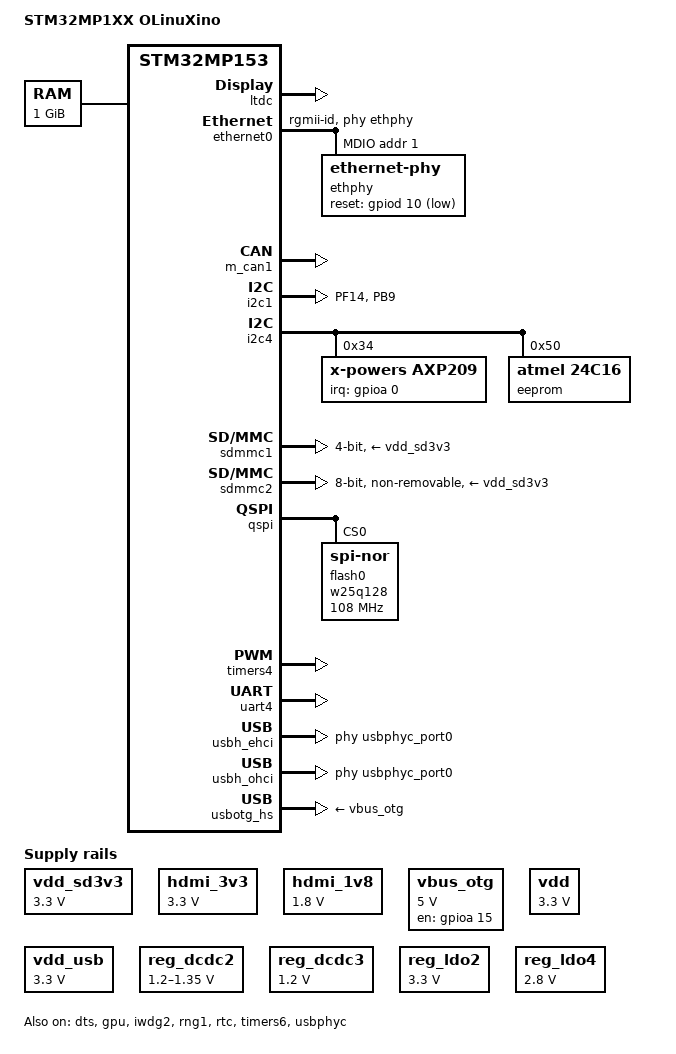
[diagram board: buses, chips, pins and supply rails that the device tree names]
// SPDX-License-Identifier: (GPL-2.0+ OR BSD-3-Clause)
/*
 * Copyright (C) STMicroelectronics 2017 - All Rights Reserved
 * Author: Ludovic Barre <ludovic.barre@st.com> for STMicroelectronics.
 */
/dts-v1/;

#include "stm32mp157.dtsi"
#include "stm32mp15xc.dtsi"
#include "stm32mp15-pinctrl.dtsi"
#include "stm32mp15xxaa-pinctrl.dtsi"

#include <dt-bindings/gpio/gpio.h>
#include <dt-bindings/mfd/st,stpmic1.h>

/ {
	model = "STM32MP1XX OLinuXino";
	compatible = "olimex,stm32mp1xx-olinuxino-lime" , "st,stm32mp153";
	aliases {
		ethernet0 = &ethernet0;
		serial0 = &uart4;
	};

	chosen {
		stdout-path = "serial0:115200n8";
	};

	memory@c0000000 {
		device_type = "memory";
		reg = <0xC0000000 0x40000000>;
	};

	reserved-memory {
		#address-cells = <1>;
		#size-cells = <1>;
		ranges;

		mcuram2: mcuram2@10000000 {
			compatible = "shared-dma-pool";
			reg = <0x10000000 0x40000>;
			no-map;
		};

		vdev0vring0: vdev0vring0@10040000 {
			compatible = "shared-dma-pool";
			reg = <0x10040000 0x1000>;
			no-map;
		};

		vdev0vring1: vdev0vring1@10041000 {
			compatible = "shared-dma-pool";
			reg = <0x10041000 0x1000>;
			no-map;
		};

		vdev0buffer: vdev0buffer@10042000 {
			compatible = "shared-dma-pool";
			reg = <0x10042000 0x4000>;
			no-map;
		};

		mcuram: mcuram@30000000 {
			compatible = "shared-dma-pool";
			reg = <0x30000000 0x40000>;
			no-map;
		};

		retram: retram@38000000 {
			compatible = "shared-dma-pool";
			reg = <0x38000000 0x10000>;
			no-map;
		};

		gpu_reserved: gpu@e8000000 {
			reg = <0xe8000000 0x8000000>;
			no-map;
		};
	};

	vdd_sd3v3: regulator_vdd {
		compatible = "regulator-fixed";
		regulator-name = "vdd-sd";
		regulator-min-microvolt = <3300000>;
		regulator-max-microvolt = <3300000>;
		enable-active-high;
		regulator-always-on;
		regulator-initial-mode = <0>;
		//regulator-over-current-protection;
	};

	hdmi_3v3: regulator_hdmi {
		compatible = "regulator-fixed";
		regulator-name = "vdd-hdmi";
		regulator-min-microvolt = <3300000>;
		regulator-max-microvolt = <3300000>;
		enable-active-high;
		regulator-always-on;
		regulator-initial-mode = <0>;
		//regulator-over-current-protection;
	};

	hdmi_1v8: regulator_hdmi1v8 {
		compatible = "regulator-fixed";
		regulator-name = "vdd-hdmi1v8";
		regulator-min-microvolt = <1800000>;
		regulator-max-microvolt = <1800000>;
		enable-active-high;
		regulator-always-on;
		regulator-initial-mode = <0>;
		//regulator-over-current-protection;
	};

/*
	hdmi_1v2: regulator_hdmi1v2 {
		compatible = "regulator-fixed";
		regulator-name = "vdd-hdmi1v2";
		regulator-min-microvolt = <1200000>;
		regulator-max-microvolt = <1200000>;
		enable-active-high;
		regulator-always-on;
		regulator-initial-mode = <0>;
		//regulator-over-current-protection;
	};
*/

	vbus_otg: regulator_otg {
		compatible = "regulator-fixed";
		regulator-name = "vdd-otg";
		regulator-min-microvolt = <5000000>;
		regulator-max-microvolt = <5000000>;
		gpios = <&gpioa 15 GPIO_ACTIVE_LOW>;
		enable-active-high;
		regulator-initial-mode = <0>;
		//regulator-over-current-protection;
	};

	vdd: vdd {
		compatible = "regulator-fixed";
		regulator-name = "vdd";
		regulator-min-microvolt = <3300000>;
		regulator-max-microvolt = <3300000>;
		enable-active-high;
		regulator-always-on;
		regulator-initial-mode = <0>;
		//regulator-over-current-protection;
	};

	vdd_usb: vdd-usb {
		compatible = "regulator-fixed";
		regulator-name = "vdd-usb";
		regulator-min-microvolt = <3300000>;
		regulator-max-microvolt = <3300000>;
		enable-active-high;
		regulator-always-on;
		regulator-initial-mode = <0>;
		//regulator-over-current-protection;
	};

/*
	panel {
		compatible = "olimex,lcd-olinuxino-10";
		status = "disabled";

		enable-gpios = <&gpiof 13 GPIO_ACTIVE_HIGH>;
		//backlight = <&backlight>;

		port {
			panel_in_tcon0: endpoint {
				remote-endpoint = <&ltdc_ep0_out>;
			};
		};
	};
*/
};

&pinctrl {
	i2c1_pins_lime: i2c1-0-lime {
		pins {
			pinmux = <STM32_PINMUX('F', 14, AF5)>, /* I2C1_SCL */
				 <STM32_PINMUX('B', 9, AF4)>; /* I2C1_SDA */
			bias-disable;
			drive-open-drain;
			slew-rate = <0>;
		};
	};

	i2c1_sleep_pins_lime: i2c1-sleep-lime {
		pins {
			pinmux = <STM32_PINMUX('D', 12, ANALOG)>, /* I2C1_SCL */
				 <STM32_PINMUX('F', 15, ANALOG)>; /* I2C1_SDA */
		};
	};
};

&dts {
	status = "okay";
};

&ltdc {
	pinctrl-names = "default", "sleep";
	pinctrl-0 = <&ltdc_pins_b>;
	pinctrl-1 = <&ltdc_sleep_pins_b>;
	status = "okay";
/*
	port {
		#address-cells = <1>;
		#size-cells = <0>;

		ltdc_ep0_out: endpoint@0 {
			reg = <0>;
			remote-endpoint = <&it66121_in>;
		};
	};*/
};

&ethernet0 {
	status = "okay";
	pinctrl-0 = <&ethernet0_rgmii_pins_a>;
	pinctrl-1 = <&ethernet0_rgmii_sleep_pins_a>;
	pinctrl-names = "default", "sleep";
	phy-mode = "rgmii-id";
	phy-handle = <&ethphy>;

	mdio0 {
		compatible = "snps,dwmac-mdio";
		#address-cells = <1>;
		#size-cells = <0>;
		ethphy: ethernet-phy@1 {
			reg = <1>;
			reset-gpios = <&gpiod 10 GPIO_ACTIVE_LOW>; /* ETH_RST# */
			reset-assert-us = <10000>;
			reset-deassert-us = <300>;
			micrel,force-master;
		};
	};
};

&gpu {
	contiguous-area = <&gpu_reserved>;
	status = "okay";
};

&m_can1 {
	pinctrl-names = "default", "sleep";
	pinctrl-0 = <&m_can1_pins_a>;
	pinctrl-1 = <&m_can1_sleep_pins_a>;
	status = "okay";
};

&i2c1 {
	pinctrl-names = "default";
	pinctrl-0 = <&i2c1_pins_lime>;
	i2c-scl-rising-time-ns = <185>;
	i2c-scl-falling-time-ns = <20>;
	status = "okay";
	/* spare dmas for other usage */
	/delete-property/dmas;
	/delete-property/dma-names;
};

&i2c4 {
	pinctrl-names = "default";
	pinctrl-0 = <&i2c4_pins_a>;
	i2c-scl-rising-time-ns = <185>;
	i2c-scl-falling-time-ns = <20>;
	status = "okay";
	/* spare dmas for other usage */
	/delete-property/dmas;
	/delete-property/dma-names;

	axp209: pmic@34 {
		compatible = "x-powers,axp209";
		reg = <0x34>;
		interrupt-parent = <&gpioa>;
		interrupts = <0 IRQ_TYPE_LEVEL_LOW>;

		interrupt-controller;
		#interrupt-cells = <1>;
	};

	eeprom: eeprom@50 {
		compatible = "atmel,24c16";
		reg = <0x50>;
		pagesize = <16>;
	};
};

&ipcc {
	status = "okay";
};

&iwdg2 {
	timeout-sec = <32>;
	status = "okay";
};

&m4_rproc {
	memory-region = <&retram>, <&mcuram>, <&mcuram2>, <&vdev0vring0>,
			<&vdev0vring1>, <&vdev0buffer>;
	mboxes = <&ipcc 0>, <&ipcc 1>, <&ipcc 2>;
	mbox-names = "vq0", "vq1", "shutdown";
	interrupt-parent = <&exti>;
	interrupts = <68 1>;
	status = "disabled";
};

&pwr_regulators {
	vdd-supply = <&vdd>;
	vdd_3v3_usbfs-supply = <&vdd_usb>;
};
#include "axp209.dtsi"

&ac_power_supply {
	status = "okay";
};

&battery_power_supply {
	status = "okay";
};


&reg_dcdc2 {
	regulator-name = "vddcore";
	regulator-min-microvolt = <1200000>;
	regulator-max-microvolt = <1350000>;
	regulator-always-on;
/*
	regulator-initial-mode = <0>;
	regulator-over-current-protection;
*/
};

&reg_dcdc3 {
	regulator-always-on;
	regulator-min-microvolt = <1200000>; //vdd-hdmi
	regulator-max-microvolt = <1200000>;
	regulator-name = "vcc-hdmi";
};

&reg_ldo1 {
	regulator-name = "vdd-rtc";
};

&reg_ldo2 {
	regulator-always-on;
	regulator-min-microvolt = <3300000>;
	regulator-max-microvolt = <3300000>;
	regulator-name = "avcc"; //avcc vcc-flash
};

/*
&reg_ldo3 {
	regulator-always-on;
	regulator-min-microvolt = <1200000>;
	regulator-max-microvolt = <1200000>;
	regulator-name = "vcc-hdmi"; //avcc
};
*/

&reg_ldo4 {
	regulator-always-on;
	regulator-min-microvolt = <2800000>;
	regulator-max-microvolt = <2800000>;
	regulator-name = "28v1"; //avcc
};


&rng1 {
	status = "okay";
};

&rtc {
	status = "okay";
};

&sdmmc1 {
	pinctrl-names = "default", "opendrain", "sleep";
	pinctrl-0 = <&sdmmc1_b4_pins_a>;
	pinctrl-1 = <&sdmmc1_b4_od_pins_a>;
	pinctrl-2 = <&sdmmc1_b4_sleep_pins_a>;
	broken-cd;
	st,neg-edge;
	bus-width = <4>;
	vmmc-supply = <&vdd_sd3v3>;
	vqmmc-supply = <&vdd_sd3v3>;
	status = "okay";
};

&sdmmc2 {
	pinctrl-names = "default", "opendrain", "sleep";
	pinctrl-0 = <&sdmmc2_b4_pins_a &sdmmc2_d47_pins_a>;
	pinctrl-1 = <&sdmmc2_b4_od_pins_a &sdmmc2_d47_pins_a>;
	pinctrl-2 = <&sdmmc2_b4_sleep_pins_a &sdmmc2_d47_sleep_pins_a>;
	non-removable;
	st,neg-edge;
	bus-width = <8>;
	vmmc-supply = <&vdd_sd3v3>;
	vqmmc-supply = <&vdd_sd3v3>;
	status = "okay";
};

&qspi {
	pinctrl-names = "default", "sleep";
	pinctrl-0 = <&qspi_clk_pins_a &qspi_bk1_pins_a &qspi_bk2_pins_a>;
	pinctrl-1 = <&qspi_clk_sleep_pins_a &qspi_bk1_sleep_pins_a &qspi_bk2_sleep_pins_a>;
	reg = <0x58003000 0x1000>, <0x70000000 0x4000000>;
	#address-cells = <1>;
	#size-cells = <0>;
	status = "okay";

	flash0: w25q128@0 {
		compatible = "jedec,spi-nor", "winbond,w25q128";
		reg = <0>;
		spi-rx-bus-width = <4>;
		spi-max-frequency = <108000000>;
		#address-cells = <1>;
		#size-cells = <1>;
	};
};

&timers6 {
	status = "okay";
	/* spare dmas for other usage */
	/delete-property/dmas;
	/delete-property/dma-names;
	timer@5 {
		status = "okay";
	};
};

&timers4 {
	/delete-property/dmas;
	/delete-property/dma-names;
	status = "okay";

	pwm4: pwm {
		pinctrl-0 = <&pwm4_pins_b>;
		pinctrl-names = "default";
		status = "okay";
	};

	timer@1 {
		status = "okay";
	};
};

&uart4 {
	pinctrl-names = "default";
	pinctrl-0 = <&uart4_pins_a>;
	status = "okay";
};

&usbphyc {
	status = "okay";
};

&usbphyc_port0 {
	phy-supply = <&vdd_usb>;
};

&usbphyc_port1 {
	phy-supply = <&vdd_usb>;
};

&usbh_ehci {
	phys = <&usbphyc_port0>, <&usbphyc_port1 1>;
	phy-names = "usb", "usb";
	status = "okay";
};

&usbh_ohci {
	phys = <&usbphyc_port0>, <&usbphyc_port1 1>;
	phy-names = "usb", "usb";
	status = "okay";
};

&usbotg_hs {
	compatible = "st,stm32mp15-fsotg", "snps,dwc2";			/* Use full-speed integrated PHY */
	pinctrl-names = "default";
	pinctrl-0 = <&usbotg_hs_pins_a &usbotg_fs_dp_dm_pins_a>;	/* configure OTG ID and full-speed data pins */
	vbus-supply = <&vbus_otg>;					/* voltage regulator to supply Vbus */
	status = "okay";
};
